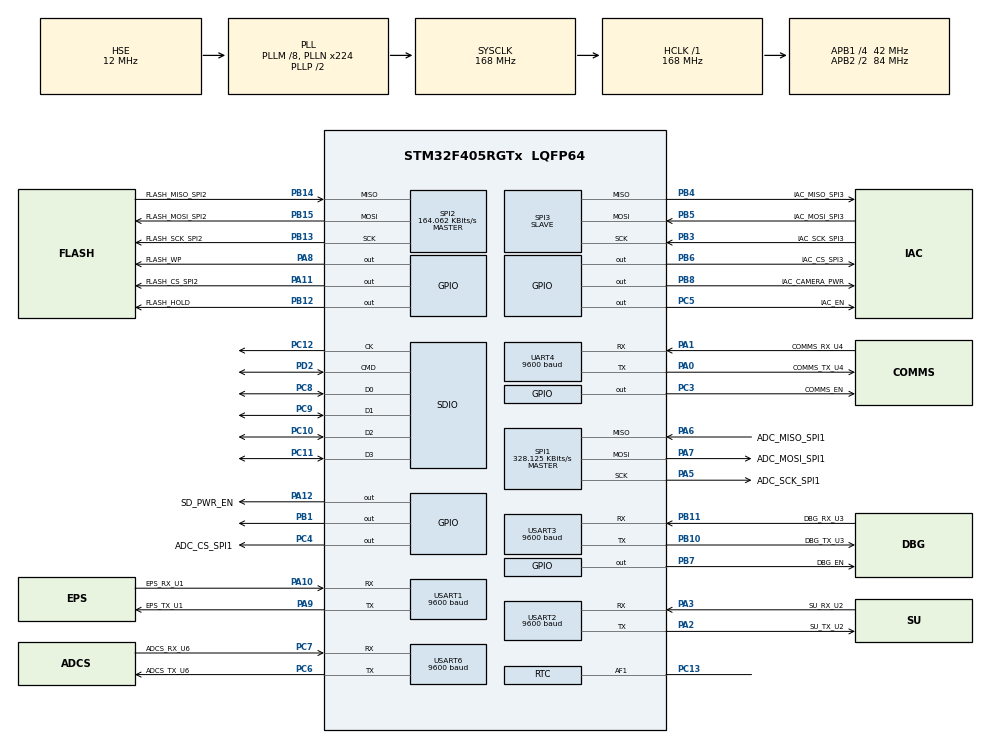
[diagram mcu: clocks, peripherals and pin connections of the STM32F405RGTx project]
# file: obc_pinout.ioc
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ADC1.Channel-21\#ChannelRegularConversion=ADC_CHANNEL_VBAT
ADC1.NbrOfConversionFlag=1
ADC1.Rank-21\#ChannelRegularConversion=1
ADC1.SamplingTime-21\#ChannelRegularConversion=ADC_SAMPLETIME_3CYCLES
ADC1.master=1
Dma.Request0=USART2_TX
Dma.Request1=USART3_TX
Dma.Request2=USART6_TX
Dma.Request3=USART1_TX
Dma.USART1_TX.3.Direction=DMA_MEMORY_TO_PERIPH
Dma.USART1_TX.3.FIFOMode=DMA_FIFOMODE_DISABLE
Dma.USART1_TX.3.Instance=DMA2_Stream7
Dma.USART1_TX.3.MemDataAlignment=DMA_MDATAALIGN_BYTE
Dma.USART1_TX.3.MemInc=DMA_MINC_ENABLE
Dma.USART1_TX.3.Mode=DMA_NORMAL
Dma.USART1_TX.3.PeriphDataAlignment=DMA_PDATAALIGN_BYTE
Dma.USART1_TX.3.PeriphInc=DMA_PINC_DISABLE
Dma.USART1_TX.3.Priority=DMA_PRIORITY_LOW
Dma.USART2_TX.0.Direction=DMA_MEMORY_TO_PERIPH
Dma.USART2_TX.0.FIFOMode=DMA_FIFOMODE_DISABLE
Dma.USART2_TX.0.Instance=DMA1_Stream6
Dma.USART2_TX.0.MemDataAlignment=DMA_MDATAALIGN_BYTE
Dma.USART2_TX.0.MemInc=DMA_MINC_ENABLE
Dma.USART2_TX.0.Mode=DMA_NORMAL
Dma.USART2_TX.0.PeriphDataAlignment=DMA_PDATAALIGN_BYTE
Dma.USART2_TX.0.PeriphInc=DMA_PINC_DISABLE
Dma.USART2_TX.0.Priority=DMA_PRIORITY_LOW
Dma.USART3_TX.1.Direction=DMA_MEMORY_TO_PERIPH
Dma.USART3_TX.1.FIFOMode=DMA_FIFOMODE_DISABLE
Dma.USART3_TX.1.Instance=DMA1_Stream3
Dma.USART3_TX.1.MemDataAlignment=DMA_MDATAALIGN_BYTE
Dma.USART3_TX.1.MemInc=DMA_MINC_ENABLE
Dma.USART3_TX.1.Mode=DMA_NORMAL
Dma.USART3_TX.1.PeriphDataAlignment=DMA_PDATAALIGN_BYTE
Dma.USART3_TX.1.PeriphInc=DMA_PINC_DISABLE
Dma.USART3_TX.1.Priority=DMA_PRIORITY_LOW
Dma.USART6_TX.2.Direction=DMA_MEMORY_TO_PERIPH
Dma.USART6_TX.2.FIFOMode=DMA_FIFOMODE_DISABLE
Dma.USART6_TX.2.Instance=DMA2_Stream6
Dma.USART6_TX.2.MemDataAlignment=DMA_MDATAALIGN_BYTE
Dma.USART6_TX.2.MemInc=DMA_MINC_ENABLE
Dma.USART6_TX.2.Mode=DMA_NORMAL
Dma.USART6_TX.2.PeriphDataAlignment=DMA_PDATAALIGN_BYTE
Dma.USART6_TX.2.PeriphInc=DMA_PINC_DISABLE
Dma.USART6_TX.2.Priority=DMA_PRIORITY_LOW
FREERTOS.HEAP_NUMBER=1
FREERTOS.INCLUDE_uxTaskGetStackHighWaterMark=1
FREERTOS.INCLUDE_vTaskDelayUntil=1
FREERTOS.Queues01=queueCOMMS,25,uint16_t,NULL;queueADCS,25,uint16_t,NULL;queueDBG,25,uint16_t,NULL;queueEPS,25,uint16_t,NULL
FREERTOS.Tasks01=uart,0,1024,UART_task,Default;HK,-2,512,HK_task,Default;time_check,-3,512,IDLE_task,Default;SU_SCH_task,-1,512,SU_SCH,Default;TEST_task,1,512,StartTask05,Default
FREERTOS.configCHECK_FOR_STACK_OVERFLOW=2
FREERTOS.configUSE_IDLE_HOOK=1
IWDG.Prescaler=IWDG_PRESCALER_256
Mcu.Family=STM32F4
Mcu.Name=STM32F405RGTx
Mcu.Package=LQFP64
NVIC.ADC_IRQn=true\:5\:0\:false\:false\:true\:true\:false\:true
NVIC.DMA1_Stream3_IRQn=true\:5\:0\:false\:false\:true\:true\:true\:true
NVIC.DMA1_Stream6_IRQn=true\:5\:0\:false\:false\:true\:true\:true\:true
NVIC.DMA2_Stream6_IRQn=true\:5\:0\:false\:false\:true\:true\:true\:true
NVIC.DMA2_Stream7_IRQn=true\:5\:0\:false\:false\:true\:true\:true\:true
NVIC.PriorityGroup=NVIC_PRIORITYGROUP_4
NVIC.SDIO_IRQn=true\:5\:0\:false\:false\:true\:true\:true\:true
NVIC.SPI3_IRQn=true\:5\:0\:false\:false\:true\:true\:true\:true
NVIC.TIM1_UP_TIM10_IRQn=true\:0\:0\:false\:false\:true\:false\:false\:true
NVIC.TimeBase=TIM1_UP_TIM10_IRQn
NVIC.TimeBaseIP=TIM1
NVIC.UART4_IRQn=true\:5\:0\:false\:false\:true\:true\:true\:true
NVIC.USART1_IRQn=true\:5\:0\:false\:false\:true\:true\:true\:true
NVIC.USART2_IRQn=true\:5\:0\:false\:false\:true\:true\:true\:true
NVIC.USART3_IRQn=true\:5\:0\:false\:false\:true\:true\:true\:true
NVIC.USART6_IRQn=true\:5\:0\:false\:false\:true\:true\:true\:true
PA0-WKUP.GPIO_Label=COMMS_TX_U4
PA0-WKUP.Mode=Asynchronous
PA0-WKUP.Signal=UART4_TX
PA1.GPIO_Label=COMMS_RX_U4
PA1.Mode=Asynchronous
PA1.Signal=UART4_RX
PA10.GPIO_Label=EPS_RX_U1
PA10.Mode=Asynchronous
PA10.Signal=USART1_RX
PA11.GPIO_Label=FLASH_CS_SPI2
PA11.Signal=GPIO_Output
PA12.GPIO_Label=SD_PWR_EN
PA12.Signal=GPIO_Output
PA13.Mode=Serial_Wire
PA13.Signal=SYS_JTMS-SWDIO
PA14.Mode=Serial_Wire
PA14.Signal=SYS_JTCK-SWCLK
PA2.GPIO_Label=SU_TX_U2
PA2.Mode=Asynchronous
PA2.Signal=USART2_TX
PA3.GPIO_Label=SU_RX_U2
PA3.Mode=Asynchronous
PA3.Signal=USART2_RX
PA5.GPIO_Label=ADC_SCK_SPI1
PA5.Mode=Full_Duplex_Master
PA5.Signal=SPI1_SCK
PA6.GPIO_Label=ADC_MISO_SPI1
PA6.Mode=Full_Duplex_Master
PA6.Signal=SPI1_MISO
PA7.GPIO_Label=ADC_MOSI_SPI1
PA7.Mode=Full_Duplex_Master
PA7.Signal=SPI1_MOSI
PA8.GPIO_Label=FLASH_WP
PA8.Signal=GPIO_Output
PA9.GPIO_Label=EPS_TX_U1
PA9.Mode=Asynchronous
PA9.Signal=USART1_TX
PB0.GPIO_Label=IAC_CM_ADC1_8
PB0.Signal=ADCx_IN8
PB1.Signal=GPIO_Output
PB10.GPIO_Label=DBG_TX_U3
PB10.Mode=Asynchronous
PB10.Signal=USART3_TX
PB11.GPIO_Label=DBG_RX_U3
PB11.Mode=Asynchronous
PB11.Signal=USART3_RX
PB12.GPIO_Label=FLASH_HOLD
PB12.Signal=GPIO_Output
PB13.GPIO_Label=FLASH_SCK_SPI2
PB13.Mode=Full_Duplex_Master
PB13.Signal=SPI2_SCK
PB14.GPIO_Label=FLASH_MISO_SPI2
PB14.Mode=Full_Duplex_Master
PB14.Signal=SPI2_MISO
PB15.GPIO_Label=FLASH_MOSI_SPI2
PB15.Mode=Full_Duplex_Master
PB15.Signal=SPI2_MOSI
PB3.GPIO_Label=IAC_SCK_SPI3
PB3.Mode=Full_Duplex_Slave
PB3.Signal=SPI3_SCK
PB4.GPIO_Label=IAC_MISO_SPI3
PB4.Mode=Full_Duplex_Slave
PB4.Signal=SPI3_MISO
PB5.GPIO_Label=IAC_MOSI_SPI3
PB5.Mode=Full_Duplex_Slave
PB5.Signal=SPI3_MOSI
PB6.GPIO_Label=IAC_CS_SPI3
PB6.Signal=GPIO_Output
PB7.GPIO_Label=DBG_EN
PB7.Signal=GPIO_Output
PB8.GPIO_Label=IAC_CAMERA_PWR
PB8.Signal=GPIO_Output
PC10.Mode=SD_4_bits_Wide_bus
PC10.Signal=SDIO_D2
PC11.Mode=SD_4_bits_Wide_bus
PC11.Signal=SDIO_D3
PC12.Mode=SD_4_bits_Wide_bus
PC12.Signal=SDIO_CK
PC13-ANTI_TAMP.Mode=Calibration_1Hz
PC13-ANTI_TAMP.Signal=RTC_AF1
PC14-OSC32_IN.Mode=LSE-External-Oscillator
PC14-OSC32_IN.Signal=RCC_OSC32_IN
PC15-OSC32_OUT.Mode=LSE-External-Oscillator
PC15-OSC32_OUT.Signal=RCC_OSC32_OUT
PC3.GPIO_Label=COMMS_EN
PC3.Signal=GPIO_Output
PC4.GPIO_Label=ADC_CS_SPI1
PC4.Signal=GPIO_Output
PC5.GPIO_Label=IAC_EN
PC5.Signal=GPIO_Output
PC6.GPIO_Label=ADCS_TX_U6
PC6.Mode=Asynchronous
PC6.Signal=USART6_TX
PC7.GPIO_Label=ADCS_RX_U6
PC7.Mode=Asynchronous
PC7.Signal=USART6_RX
PC8.Mode=SD_4_bits_Wide_bus
PC8.Signal=SDIO_D0
PC9.Mode=SD_4_bits_Wide_bus
PC9.Signal=SDIO_D1
PD2.Mode=SD_4_bits_Wide_bus
PD2.Signal=SDIO_CMD
PH0-OSC_IN.Mode=HSE-External-Oscillator
PH0-OSC_IN.Signal=RCC_OSC_IN
PH1-OSC_OUT.Mode=HSE-External-Oscillator
PH1-OSC_OUT.Signal=RCC_OSC_OUT
ProjectManager.HeapSize=0x200
ProjectManager.StackSize=0x400
ProjectManager.TargetToolchain=SW4STM32
RCC.48MHZClocksFreq_Value=48000000
RCC.AHBFreq_Value=168000000
RCC.APB1CLKDivider=RCC_HCLK_DIV4
RCC.APB1Freq_Value=42000000
RCC.APB1TimFreq_Value=84000000
RCC.APB2CLKDivider=RCC_HCLK_DIV2
RCC.APB2Freq_Value=84000000
RCC.APB2TimFreq_Value=168000000
RCC.CortexFreq_Value=168000000
RCC.HCLKFreq_Value=168000000
RCC.HSE_VALUE=12000000
RCC.HSI_VALUE=16000000
RCC.PLLM=8
RCC.PLLN=224
RCC.PLLQ=7
RCC.PLLSourceVirtual=RCC_PLLSOURCE_HSE
RCC.RCC_RTC_Clock_Source=RCC_RTCCLKSOURCE_LSE
RCC.RCC_RTC_Clock_SourceVirtual=RCC_RTCCLKSOURCE_LSE
RCC.SYSCLKFreq_VALUE=168000000
RCC.SYSCLKSource=RCC_SYSCLKSOURCE_PLLCLK
RCC.VCOOutputFreq_Value=336000000
RTC.Format=RTC_FORMAT_BIN
SDIO.WideMode=SDIO_BUS_WIDE_4B
SH.ADCx_IN8.0=ADC1_IN8
SPI1.BaudRatePrescaler=SPI_BAUDRATEPRESCALER_256
SPI1.CalculateBaudRate=328.125 KBits/s
SPI1.Direction=SPI_DIRECTION_2LINES
SPI1.Mode=SPI_MODE_MASTER
SPI1.VirtualType=VM_MASTER
SPI2.BaudRatePrescaler=SPI_BAUDRATEPRESCALER_256
SPI2.CLKPhase=SPI_PHASE_1EDGE
SPI2.CalculateBaudRate=164.062 KBits/s
SPI2.Direction=SPI_DIRECTION_2LINES
SPI2.Mode=SPI_MODE_MASTER
SPI2.VirtualType=VM_MASTER
SPI3.Direction=SPI_DIRECTION_2LINES
SPI3.Mode=SPI_MODE_SLAVE
SPI3.VirtualType=VM_SLAVE
UART4.BaudRate=9600
UART4.VirtualMode=Asynchronous
USART1.BaudRate=9600
USART1.VirtualMode=VM_ASYNC
USART2.BaudRate=9600
USART2.VirtualMode=VM_ASYNC
USART3.BaudRate=9600
USART3.VirtualMode=VM_ASYNC
USART6.BaudRate=9600
USART6.VirtualMode=VM_ASYNC
VP_ADC1_Vbat_Input.Mode=IN-Vbat
VP_FATFS_VS_Generic.Mode=User_defined
VP_FREERTOS_VS_ENABLE.Mode=Enabled
VP_IWDG_VS_IWDG.Mode=IWDG_Activate
VP_RTC_VS_RTC_Activate.Mode=RTC_Enabled
VP_SYS_VS_tim1.Mode=TIM1
board=obc_pinout

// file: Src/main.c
/**
  ******************************************************************************
  * File Name          : main.c
  * Description        : Main program body
  ******************************************************************************
  *
  * COPYRIGHT(c) 2016 STMicroelectronics
  *
  * Redistribution and use in source and binary forms, with or without modification,
  * are permitted provided that the following conditions are met:
  *   1. Redistributions of source code must retain the above copyright notice,
  *      this list of conditions and the following disclaimer.
  *   2. Redistributions in binary form must reproduce the above copyright notice,
  *      this list of conditions and the following disclaimer in the documentation
  *      and/or other materials provided with the distribution.
  *   3. Neither the name of STMicroelectronics nor the names of its contributors
  *      may be used to endorse or promote products derived from this software
  *      without specific prior written permission.
  *
  * THIS SOFTWARE IS PROVIDED BY THE COPYRIGHT HOLDERS AND CONTRIBUTORS "AS IS"
  * AND ANY EXPRESS OR IMPLIED WARRANTIES, INCLUDING, BUT NOT LIMITED TO, THE
  * IMPLIED WARRANTIES OF MERCHANTABILITY AND FITNESS FOR A PARTICULAR PURPOSE ARE
  * DISCLAIMED. IN NO EVENT SHALL THE COPYRIGHT HOLDER OR CONTRIBUTORS BE LIABLE
  * FOR ANY DIRECT, INDIRECT, INCIDENTAL, SPECIAL, EXEMPLARY, OR CONSEQUENTIAL
  * DAMAGES (INCLUDING, BUT NOT LIMITED TO, PROCUREMENT OF SUBSTITUTE GOODS OR
  * SERVICES; LOSS OF USE, DATA, OR PROFITS; OR BUSINESS INTERRUPTION) HOWEVER
  * CAUSED AND ON ANY THEORY OF LIABILITY, WHETHER IN CONTRACT, STRICT LIABILITY,
  * OR TORT (INCLUDING NEGLIGENCE OR OTHERWISE) ARISING IN ANY WAY OUT OF THE USE
  * OF THIS SOFTWARE, EVEN IF ADVISED OF THE POSSIBILITY OF SUCH DAMAGE.
  *
  ******************************************************************************
  */
#include "stm32f4xx_hal.h"
#include "cmsis_os.h"
#include "main.h"
//#include "fatfs.h"

/* USER CODE BEGIN Includes */
#include "obc.h"
/*
#include "obc.h"
#include "service_utilities.h"
#include "time_management_service.h"
#include "wdg.h"
#include "su_mnlp.h"
#include "scheduling_service.h"
*/
#include "pkt_pool.h"

#undef __FILE_ID__
#define __FILE_ID__ 666

/* USER CODE END Includes */

ADC_HandleTypeDef hadc1;

IWDG_HandleTypeDef hiwdg;

RTC_HandleTypeDef hrtc;

SD_HandleTypeDef hsd;
// HAL_SD_CardInfoTypedef SDCardInfo;

SPI_HandleTypeDef hspi1;
SPI_HandleTypeDef hspi2;
SPI_HandleTypeDef hspi3;

UART_HandleTypeDef huart4;
UART_HandleTypeDef huart1;
UART_HandleTypeDef huart2;
UART_HandleTypeDef huart3;
UART_HandleTypeDef huart6;
DMA_HandleTypeDef hdma_uart4_tx;
DMA_HandleTypeDef hdma_usart1_tx;
DMA_HandleTypeDef hdma_usart2_tx;
DMA_HandleTypeDef hdma_usart3_tx;
DMA_HandleTypeDef hdma_usart6_tx;

osThreadId uartHandle;
osThreadId hkHandle;
osThreadId idleHandle;
osThreadId su_schHandle;
osThreadId sche_servHandle;
osMessageQId queueCOMMS;
osMessageQId queueADCS;
osMessageQId queueDBG;
osMessageQId queueEPS;

/* USER CODE BEGIN PV */
/* Private variables ---------------------------------------------------------*/
uint8_t uart_temp[200];
extern uint8_t su_inc_resp[180]; //174 su resp + 22 flight hdr, +1 for serial shift = 197
extern struct _MNLP_data MNLP_data;

TaskHandle_t xTask_UART = NULL;
/* USER CODE END PV */

void SystemClock_Config(void);
void Error_Handler(void);
static void MX_GPIO_Init(void);
static void MX_DMA_Init(void);
static void MX_SDIO_SD_Init(void);
static void MX_UART4_Init(void);
static void MX_USART2_UART_Init(void);
static void MX_USART3_UART_Init(void);
static void MX_USART6_UART_Init(void);
static void MX_USART1_UART_Init(void);
static void MX_SPI2_Init(void);
static void MX_SPI1_Init(void);
static void MX_SPI3_Init(void);
static void MX_ADC1_Init(void);
static void MX_RTC_Init(void);
static void MX_IWDG_Init(void);
void UART_task(void const * argument);
void HK_task(void const * argument);
void IDLE_task(void const * argument);
void SU_SCH(void const * argument);
void sche_se_sch(void const * argument);

/* USER CODE BEGIN PFP */
/* Private function prototypes -----------------------------------------------*/

/* USER CODE END PFP */

/* USER CODE BEGIN 0 */
const TickType_t xUARTMaxBlockTime = pdMS_TO_TICKS(10000);
const TickType_t xUARTMinBlockTime = pdMS_TO_TICKS(100);
/* USER CODE END 0 */

int main(void)
{

  /* MCU Configuration----------------------------------------------------------*/

  /* Reset of all peripherals, Initializes the Flash interface and the Systick. */
  HAL_Init();
  HAL_Delay(5000);
  /* Configure the system clock */
  SystemClock_Config();

  /* Initialize all configured peripherals */
  MX_GPIO_Init();
  MX_DMA_Init();
  MX_SDIO_SD_Init();
  MX_UART4_Init();
  MX_USART2_UART_Init();
  MX_USART3_UART_Init();
  MX_USART6_UART_Init();
  MX_USART1_UART_Init();
  MX_SPI2_Init();
  MX_SPI1_Init();
  MX_SPI3_Init();
  MX_ADC1_Init();
  MX_RTC_Init();
  MX_IWDG_Init();

  /* USER CODE BEGIN 2 */
  /*SEGGER_SYSVIEW_Conf();
  sysview_init();*/
  /* USER CODE END 2 */

  /* Create the thread(s) */
  /* definition and creation of uart */
  osThreadDef(uart, UART_task, osPriorityAboveNormal, 0, 1024);
  uartHandle = osThreadCreate(osThread(uart), NULL);

  /* definition and creation of HK */
  osThreadDef(HK, HK_task, osPriorityLow, 0, 512);
  hkHandle = osThreadCreate(osThread(HK), NULL);

  /* definition and creation of time_check */
  osThreadDef(time_check, IDLE_task, osPriorityIdle, 0, 512);
  idleHandle = osThreadCreate(osThread(time_check), NULL);

  /* definition and creation of SU_SCH_task */
  osThreadDef(SU_SCH_task, SU_SCH, osPriorityNormal, 0, 512);
  su_schHandle = osThreadCreate(osThread(SU_SCH_task), NULL);

  /* definition and creation of scheduling_serv */
  osThreadDef(scheduling_serv, sche_se_sch, osPriorityBelowNormal, 0, 128);
  sche_servHandle = osThreadCreate(osThread(scheduling_serv), NULL);

  /* Create the queue(s) */
  /* definition and creation of queueCOMMS */
  osMessageQDef(queueCOMMSdef, POOL_PKT_TOTAL_SIZE + 1, sizeof(tc_tm_pkt *));
  queueCOMMS = osMessageCreate(osMessageQ(queueCOMMSdef), NULL);

  /* definition and creation of queueADCS */
  osMessageQDef(queueADCSdef, POOL_PKT_TOTAL_SIZE + 1, sizeof(tc_tm_pkt *));
  queueADCS = osMessageCreate(osMessageQ(queueADCSdef), NULL);

  /* definition and creation of queueDBG */
  osMessageQDef(queueDBGdef, POOL_PKT_TOTAL_SIZE + 1, sizeof(tc_tm_pkt *));
  queueDBG = osMessageCreate(osMessageQ(queueDBGdef), NULL);

  /* definition and creation of queueEPS */
  osMessageQDef(queueEPSdef, POOL_PKT_TOTAL_SIZE + 1, sizeof(tc_tm_pkt *));
  queueEPS = osMessageCreate(osMessageQ(queueEPSdef), NULL);

  /* USER CODE BEGIN RTOS_QUEUES */
  uint32_t test = uxQueueMessagesWaiting( queueEPS );
  test = uxQueueMessagesWaiting( queueDBG );
  test = uxQueueMessagesWaiting( queueADCS );
  test = uxQueueMessagesWaiting( queueCOMMS );
  /* USER CODE END RTOS_QUEUES */

  /* Start scheduler */
  osKernelStart();

  /* We should never get here as control is now taken by the scheduler */

  /* Infinite loop */
  while (1)
  {

  }

}

/** System Clock Configuration
*/
void SystemClock_Config(void)
{

  RCC_OscInitTypeDef RCC_OscInitStruct;
  RCC_ClkInitTypeDef RCC_ClkInitStruct;
  RCC_PeriphCLKInitTypeDef PeriphClkInitStruct;

  __HAL_RCC_PWR_CLK_ENABLE();

  __HAL_PWR_VOLTAGESCALING_CONFIG(PWR_REGULATOR_VOLTAGE_SCALE1);

  RCC_OscInitStruct.OscillatorType = RCC_OSCILLATORTYPE_LSI|RCC_OSCILLATORTYPE_HSE
                              |RCC_OSCILLATORTYPE_LSE;
  RCC_OscInitStruct.HSEState = RCC_HSE_ON;
  RCC_OscInitStruct.LSEState = RCC_LSE_ON;
  RCC_OscInitStruct.LSIState = RCC_LSI_ON;
  RCC_OscInitStruct.PLL.PLLState = RCC_PLL_ON;
  RCC_OscInitStruct.PLL.PLLSource = RCC_PLLSOURCE_HSE;
  RCC_OscInitStruct.PLL.PLLM = 8;
  RCC_OscInitStruct.PLL.PLLN = 224;
  RCC_OscInitStruct.PLL.PLLP = RCC_PLLP_DIV2;
  RCC_OscInitStruct.PLL.PLLQ = 7;
  if (HAL_RCC_OscConfig(&RCC_OscInitStruct) != HAL_OK)
  {
    Error_Handler();
  }

  RCC_ClkInitStruct.ClockType = RCC_CLOCKTYPE_HCLK|RCC_CLOCKTYPE_SYSCLK
                              |RCC_CLOCKTYPE_PCLK1|RCC_CLOCKTYPE_PCLK2;
  RCC_ClkInitStruct.SYSCLKSource = RCC_SYSCLKSOURCE_PLLCLK;
  RCC_ClkInitStruct.AHBCLKDivider = RCC_SYSCLK_DIV1;
  RCC_ClkInitStruct.APB1CLKDivider = RCC_HCLK_DIV4;
  RCC_ClkInitStruct.APB2CLKDivider = RCC_HCLK_DIV2;
  if (HAL_RCC_ClockConfig(&RCC_ClkInitStruct, FLASH_LATENCY_5) != HAL_OK)
  {
    Error_Handler();
  }

  PeriphClkInitStruct.PeriphClockSelection = RCC_PERIPHCLK_RTC;
  PeriphClkInitStruct.RTCClockSelection = RCC_RTCCLKSOURCE_LSE;
  if (HAL_RCCEx_PeriphCLKConfig(&PeriphClkInitStruct) != HAL_OK)
  {
    Error_Handler();
  }

  HAL_SYSTICK_Config(HAL_RCC_GetHCLKFreq()/1000);

  HAL_SYSTICK_CLKSourceConfig(SYSTICK_CLKSOURCE_HCLK);

  /* SysTick_IRQn interrupt configuration */
  HAL_NVIC_SetPriority(SysTick_IRQn, 15, 0);
}

/* ADC1 init function */
static void MX_ADC1_Init(void)
{

  ADC_ChannelConfTypeDef sConfig;

    /**Configure the global features of the ADC (Clock, Resolution, Data Alignment and number of conversion)
    */
  hadc1.Instance = ADC1;
  hadc1.Init.ClockPrescaler = ADC_CLOCK_SYNC_PCLK_DIV4;
  hadc1.Init.Resolution = ADC_RESOLUTION_12B;
  hadc1.Init.ScanConvMode = DISABLE;
  hadc1.Init.ContinuousConvMode = DISABLE;
  hadc1.Init.DiscontinuousConvMode = DISABLE;
  hadc1.Init.ExternalTrigConvEdge = ADC_EXTERNALTRIGCONVEDGE_NONE;
  hadc1.Init.DataAlign = ADC_DATAALIGN_RIGHT;
  hadc1.Init.NbrOfConversion = 1;
  hadc1.Init.DMAContinuousRequests = DISABLE;
  hadc1.Init.EOCSelection = ADC_EOC_SINGLE_CONV;
  if (HAL_ADC_Init(&hadc1) != HAL_OK)
  {
    Error_Handler();
  }

    /**Configure for the selected ADC regular channel its corresponding rank in the sequencer and its sample time.
    */
  sConfig.Channel = ADC_CHANNEL_VBAT;
  sConfig.Rank = 1;
  sConfig.SamplingTime = ADC_SAMPLETIME_3CYCLES;
  if (HAL_ADC_ConfigChannel(&hadc1, &sConfig) != HAL_OK)
  {
    Error_Handler();
  }

}

/* IWDG init function */
static void MX_IWDG_Init(void)
{

  hiwdg.Instance = IWDG;
  hiwdg.Init.Prescaler = IWDG_PRESCALER_256;
  hiwdg.Init.Reload = 4095;
  if (HAL_IWDG_Init(&hiwdg) != HAL_OK)
  {
    Error_Handler();
  }

}

/* RTC init function */
static void MX_RTC_Init(void)
{

  RTC_TimeTypeDef sTime;
  RTC_DateTypeDef sDate;

    /**Initialize RTC and set the Time and Date
    */
  hrtc.Instance = RTC;
  hrtc.Init.HourFormat = RTC_HOURFORMAT_24;
  hrtc.Init.AsynchPrediv = 127;
  hrtc.Init.SynchPrediv = 255;
  hrtc.Init.OutPut = RTC_OUTPUT_DISABLE;
  hrtc.Init.OutPutPolarity = RTC_OUTPUT_POLARITY_HIGH;
  hrtc.Init.OutPutType = RTC_OUTPUT_TYPE_OPENDRAIN;
  if (HAL_RTC_Init(&hrtc) != HAL_OK)
  {
    Error_Handler();
  }

  sTime.Hours = 0;
  sTime.Minutes = 0;
  sTime.Seconds = 0;
  sTime.DayLightSaving = RTC_DAYLIGHTSAVING_NONE;
  sTime.StoreOperation = RTC_STOREOPERATION_RESET;
  //if (HAL_RTC_SetTime(&hrtc, &sTime, RTC_FORMAT_BIN) != HAL_OK)
  //{
  //  Error_Handler();
  //}

  sDate.WeekDay = RTC_WEEKDAY_MONDAY;
  sDate.Month = RTC_MONTH_JANUARY;
  sDate.Date = 1;
  sDate.Year = 0;

  //if (HAL_RTC_SetDate(&hrtc, &sDate, RTC_FORMAT_BIN) != HAL_OK)
  //{
  //  Error_Handler();
  //}

    /**Enable Calibrartion
    */
  //if (HAL_RTCEx_SetCalibrationOutPut(&hrtc, RTC_CALIBOUTPUT_1HZ) != HAL_OK)
  //{
  //  Error_Handler();
  //}

}

/* SDIO init function */
static void MX_SDIO_SD_Init(void)
{

  hsd.Instance = SDIO;
  hsd.Init.ClockEdge = SDIO_CLOCK_EDGE_RISING;
  hsd.Init.ClockBypass = SDIO_CLOCK_BYPASS_DISABLE;
  hsd.Init.ClockPowerSave = SDIO_CLOCK_POWER_SAVE_DISABLE;
  hsd.Init.BusWide = SDIO_BUS_WIDE_1B;
  hsd.Init.HardwareFlowControl = SDIO_HARDWARE_FLOW_CONTROL_DISABLE;
  hsd.Init.ClockDiv = 0;

}

/* SPI1 init function */
static void MX_SPI1_Init(void)
{

  hspi1.Instance = SPI1;
  hspi1.Init.Mode = SPI_MODE_MASTER;
  hspi1.Init.Direction = SPI_DIRECTION_2LINES;
  hspi1.Init.DataSize = SPI_DATASIZE_8BIT;
  hspi1.Init.CLKPolarity = SPI_POLARITY_LOW;
  hspi1.Init.CLKPhase = SPI_PHASE_1EDGE;
  hspi1.Init.NSS = SPI_NSS_SOFT;
  hspi1.Init.BaudRatePrescaler = SPI_BAUDRATEPRESCALER_256;
  hspi1.Init.FirstBit = SPI_FIRSTBIT_MSB;
  hspi1.Init.TIMode = SPI_TIMODE_DISABLE;
  hspi1.Init.CRCCalculation = SPI_CRCCALCULATION_DISABLE;
  hspi1.Init.CRCPolynomial = 10;
  if (HAL_SPI_Init(&hspi1) != HAL_OK)
  {
    Error_Handler();
  }

}

/* SPI2 init function */
static void MX_SPI2_Init(void)
{

  hspi2.Instance = SPI2;
  hspi2.Init.Mode = SPI_MODE_MASTER;
  hspi2.Init.Direction = SPI_DIRECTION_2LINES;
  hspi2.Init.DataSize = SPI_DATASIZE_8BIT;
  hspi2.Init.CLKPolarity = SPI_POLARITY_LOW;
  hspi2.Init.CLKPhase = SPI_PHASE_1EDGE;
  hspi2.Init.NSS = SPI_NSS_SOFT;
  hspi2.Init.BaudRatePrescaler = SPI_BAUDRATEPRESCALER_256;
  hspi2.Init.FirstBit = SPI_FIRSTBIT_MSB;
  hspi2.Init.TIMode = SPI_TIMODE_DISABLE;
  hspi2.Init.CRCCalculation = SPI_CRCCALCULATION_DISABLE;
  hspi2.Init.CRCPolynomial = 10;
  if (HAL_SPI_Init(&hspi2) != HAL_OK)
  {
    Error_Handler();
  }

}

/* SPI3 init function */
static void MX_SPI3_Init(void)
{

  hspi3.Instance = SPI3;
  hspi3.Init.Mode = SPI_MODE_SLAVE;
  hspi3.Init.Direction = SPI_DIRECTION_2LINES;
  hspi3.Init.DataSize = SPI_DATASIZE_8BIT;
  hspi3.Init.CLKPolarity = SPI_POLARITY_LOW;
  hspi3.Init.CLKPhase = SPI_PHASE_1EDGE;
  hspi3.Init.NSS = SPI_NSS_SOFT;
  hspi3.Init.FirstBit = SPI_FIRSTBIT_MSB;
  hspi3.Init.TIMode = SPI_TIMODE_DISABLE;
  hspi3.Init.CRCCalculation = SPI_CRCCALCULATION_DISABLE;
  hspi3.Init.CRCPolynomial = 10;
  if (HAL_SPI_Init(&hspi3) != HAL_OK)
  {
    Error_Handler();
  }

}

/* UART4 init function */
static void MX_UART4_Init(void)
{

  huart4.Instance = UART4;
  huart4.Init.BaudRate = 9600;
  huart4.Init.WordLength = UART_WORDLENGTH_8B;
  huart4.Init.StopBits = UART_STOPBITS_1;
  huart4.Init.Parity = UART_PARITY_NONE;
  huart4.Init.Mode = UART_MODE_TX_RX;
  huart4.Init.HwFlowCtl = UART_HWCONTROL_NONE;
  huart4.Init.OverSampling = UART_OVERSAMPLING_16;
  if (HAL_UART_Init(&huart4) != HAL_OK)
  {
    Error_Handler();
  }

}

/* USART1 init function */
static void MX_USART1_UART_Init(void)
{

  huart1.Instance = USART1;
  huart1.Init.BaudRate = 9600;
  huart1.Init.WordLength = UART_WORDLENGTH_8B;
  huart1.Init.StopBits = UART_STOPBITS_1;
  huart1.Init.Parity = UART_PARITY_NONE;
  huart1.Init.Mode = UART_MODE_TX_RX;
  huart1.Init.HwFlowCtl = UART_HWCONTROL_NONE;
  huart1.Init.OverSampling = UART_OVERSAMPLING_16;
  if (HAL_UART_Init(&huart1) != HAL_OK)
  {
    Error_Handler();
  }

}

/* USART2 init function */
static void MX_USART2_UART_Init(void)
{

  huart2.Instance = USART2;
  huart2.Init.BaudRate = 9600;
  huart2.Init.WordLength = UART_WORDLENGTH_8B;
  huart2.Init.StopBits = UART_STOPBITS_1;
  huart2.Init.Parity = UART_PARITY_NONE;
  huart2.Init.Mode = UART_MODE_TX_RX;
  huart2.Init.HwFlowCtl = UART_HWCONTROL_NONE;
  huart2.Init.OverSampling = UART_OVERSAMPLING_16;
  if (HAL_UART_Init(&huart2) != HAL_OK)
  {
    Error_Handler();
  }

}

/* USART3 init function */
static void MX_USART3_UART_Init(void)
{

  huart3.Instance = USART3;
  huart3.Init.BaudRate = 9600;
  huart3.Init.WordLength = UART_WORDLENGTH_8B;
  huart3.Init.StopBits = UART_STOPBITS_1;
  huart3.Init.Parity = UART_PARITY_NONE;
  huart3.Init.Mode = UART_MODE_TX_RX;
  huart3.Init.HwFlowCtl = UART_HWCONTROL_NONE;
  huart3.Init.OverSampling = UART_OVERSAMPLING_16;
  if (HAL_UART_Init(&huart3) != HAL_OK)
  {
    Error_Handler();
  }

}

/* USART6 init function */
static void MX_USART6_UART_Init(void)
{

  huart6.Instance = USART6;
  huart6.Init.BaudRate = 9600;
  huart6.Init.WordLength = UART_WORDLENGTH_8B;
  huart6.Init.StopBits = UART_STOPBITS_1;
  huart6.Init.Parity = UART_PARITY_NONE;
  huart6.Init.Mode = UART_MODE_TX_RX;
  huart6.Init.HwFlowCtl = UART_HWCONTROL_NONE;
  huart6.Init.OverSampling = UART_OVERSAMPLING_16;
  if (HAL_UART_Init(&huart6) != HAL_OK)
  {
    Error_Handler();
  }

}

static void MX_DMA_Init(void)
{
  /* DMA controller clock enable */
  __HAL_RCC_DMA1_CLK_ENABLE();
  __HAL_RCC_DMA2_CLK_ENABLE();

  /* DMA interrupt init */
  /* DMA1_Stream3_IRQn interrupt configuration */
  HAL_NVIC_SetPriority(DMA1_Stream3_IRQn, 5, 0);
  HAL_NVIC_EnableIRQ(DMA1_Stream3_IRQn);
  /* DMA1_Stream4_IRQn interrupt configuration */
  HAL_NVIC_SetPriority(DMA1_Stream4_IRQn, 5, 0);
  HAL_NVIC_EnableIRQ(DMA1_Stream4_IRQn);
  /* DMA1_Stream6_IRQn interrupt configuration */
  HAL_NVIC_SetPriority(DMA1_Stream6_IRQn, 5, 0);
  HAL_NVIC_EnableIRQ(DMA1_Stream6_IRQn);
  /* DMA2_Stream6_IRQn interrupt configuration */
  HAL_NVIC_SetPriority(DMA2_Stream6_IRQn, 5, 0);
  HAL_NVIC_EnableIRQ(DMA2_Stream6_IRQn);
  /* DMA2_Stream7_IRQn interrupt configuration */
  HAL_NVIC_SetPriority(DMA2_Stream7_IRQn, 5, 0);
  HAL_NVIC_EnableIRQ(DMA2_Stream7_IRQn);

}

/** Configure pins as
        * Analog
        * Input
        * Output
        * EVENT_OUT
        * EXTI
*/
static void MX_GPIO_Init(void)
{

  GPIO_InitTypeDef GPIO_InitStruct;

  /* GPIO Ports Clock Enable */
  __HAL_RCC_GPIOC_CLK_ENABLE();
  __HAL_RCC_GPIOH_CLK_ENABLE();
  __HAL_RCC_GPIOA_CLK_ENABLE();
  __HAL_RCC_GPIOB_CLK_ENABLE();
  __HAL_RCC_GPIOD_CLK_ENABLE();

  /*Configure GPIO pin Output Level */
  HAL_GPIO_WritePin(GPIOC, COMMS_EN_Pin|ADC_CS_SPI1_Pin, GPIO_PIN_RESET);

  HAL_GPIO_WritePin(GPIOC, IAC_EN_Pin, GPIO_PIN_SET);

  /*Configure GPIO pin Output Level */
  HAL_GPIO_WritePin(GPIOB, GPIO_PIN_1|IAC_CS_SPI3_Pin|FLASH_HOLD_Pin|DBG_EN_Pin, GPIO_PIN_RESET);

  HAL_GPIO_WritePin(GPIOB, IAC_CAMERA_PWR_Pin, GPIO_PIN_SET);

  /*Configure GPIO pin Output Level */
  HAL_GPIO_WritePin(GPIOA, FLASH_WP_Pin|FLASH_CS_SPI2_Pin|SD_PWR_EN_Pin, GPIO_PIN_RESET);

  /*Configure GPIO pins : COMMS_EN_Pin ADC_CS_SPI1_Pin IAC_EN_Pin */
  GPIO_InitStruct.Pin = COMMS_EN_Pin|ADC_CS_SPI1_Pin|IAC_EN_Pin;
  GPIO_InitStruct.Mode = GPIO_MODE_OUTPUT_PP;
  GPIO_InitStruct.Pull = GPIO_NOPULL;
  GPIO_InitStruct.Speed = GPIO_SPEED_FREQ_LOW;
  HAL_GPIO_Init(GPIOC, &GPIO_InitStruct);

  /*Configure GPIO pins : PB1 FLASH_HOLD_Pin IAC_CS_SPI3_Pin DBG_EN_Pin
                           IAC_CAMERA_PWR_Pin */
  GPIO_InitStruct.Pin = GPIO_PIN_1|FLASH_HOLD_Pin|IAC_CS_SPI3_Pin|DBG_EN_Pin
                          |IAC_CAMERA_PWR_Pin;
  GPIO_InitStruct.Mode = GPIO_MODE_OUTPUT_PP;
  GPIO_InitStruct.Pull = GPIO_NOPULL;
  GPIO_InitStruct.Speed = GPIO_SPEED_FREQ_LOW;
  HAL_GPIO_Init(GPIOB, &GPIO_InitStruct);

  /*Configure GPIO pins : FLASH_WP_Pin FLASH_CS_SPI2_Pin SD_PWR_EN_Pin */
  GPIO_InitStruct.Pin = FLASH_WP_Pin|FLASH_CS_SPI2_Pin|SD_PWR_EN_Pin;
  GPIO_InitStruct.Mode = GPIO_MODE_OUTPUT_PP;
  GPIO_InitStruct.Pull = GPIO_NOPULL;
  GPIO_InitStruct.Speed = GPIO_SPEED_FREQ_LOW;
  HAL_GPIO_Init(GPIOA, &GPIO_InitStruct);

}

/* USER CODE BEGIN 4 */
void HAL_ADC_ConvCpltCallback(ADC_HandleTypeDef* hadc) {
    obc_data.adc_flag = true;
}
/* USER CODE END 4 */

/* UART_task function
void UART_task(void const * argument)
{
   init code for FATFS
  MX_FATFS_Init();

   USER CODE BEGIN 5

   IS25LP128  eeprom
   HAL_GPIO_WritePin(GPIOA, GPIO_PIN_11, GPIO_PIN_SET);
   HAL_GPIO_WritePin(GPIOB, GPIO_PIN_12, GPIO_PIN_SET);

   pkt_pool_INIT();
   HAL_obc_enableBkUpAccess();
   bkup_sram_INIT();

   uint8_t rsrc = 0;
   HAL_reset_source(&rsrc);
   set_reset_source(rsrc);

   uint32_t b_cnt = 0;
   get_boot_counter(&b_cnt);

   update_boot_counter();

   HAL_obc_SD_ON();

   mass_storage_init();

  Task notification setup
  uint32_t ulNotificationValue;
  const TickType_t xMaxBlockTime = pdMS_TO_TICKS(10000);

  xTask_UART = xTaskGetCurrentTaskHandle();
  TickType_t blockTime;

  su_INIT();

  scheduling_service_init();

  HAL_GPIO_WritePin(GPIOB, GPIO_PIN_6, GPIO_PIN_SET);
  osDelay(1);
  HAL_GPIO_WritePin(GPIOB, GPIO_PIN_6, GPIO_PIN_RESET);
  Uart inits
  // DEBUG
  HAL_UART_Receive_IT( &huart1, obc_data.eps_uart.uart_buf, UART_BUF_SIZE);
  HAL_UART_Receive_IT( &huart2, MNLP_data.su_inc_resp, 174);
  HAL_UART_Receive_IT( &huart3, obc_data.dbg_uart.uart_buf, UART_BUF_SIZE);
  HAL_UART_Receive_IT( &huart4, obc_data.comms_uart.uart_buf, UART_BUF_SIZE);
  HAL_UART_Receive_IT( &huart6, obc_data.adcs_uart.uart_buf, UART_BUF_SIZE);

   Infinite loop
  for(;;)
  {
    task_times.uart_time = HAL_sys_GetTick();
    su_incoming_rx();
    import_pkt(EPS_APP_ID, &obc_data.eps_uart);
    export_pkt(EPS_APP_ID, &obc_data.eps_uart);

    import_pkt(COMMS_APP_ID, &obc_data.comms_uart);
    export_pkt(COMMS_APP_ID, &obc_data.comms_uart);

    import_pkt(ADCS_APP_ID, &obc_data.adcs_uart);
    export_pkt(ADCS_APP_ID, &obc_data.adcs_uart);

    import_pkt(DBG_APP_ID, &obc_data.dbg_uart);
    export_pkt(DBG_APP_ID, &obc_data.dbg_uart);

    wdg_reset_UART();
    if(uxQueueMessagesWaiting(queueADCS)  > 0  ||
       uxQueueMessagesWaiting(queueDBG)   > 0  ||
       uxQueueMessagesWaiting(queueCOMMS) > 0  ||
       uxQueueMessagesWaiting(queueEPS)   > 0) {

      blockTime = xUARTMinBlockTime;
    } else {
      blockTime = xUARTMaxBlockTime;
    }

    ulNotificationValue = ulTaskNotifyTake( pdTRUE, blockTime);

  }
   USER CODE END 5
}*/

/* HK_task function
void HK_task(void const * argument)
{
   USER CODE BEGIN HK_task
  hk_INIT();
   Infinite loop
  osDelay(6000);
  for(;;)
  {
    task_times.hk_time = HAL_sys_GetTick();
    hk_SCH();
    osDelay(10);
  }
   USER CODE END HK_task
}*/

/* IDLE_task function */
void IDLE_task(void const * argument)
{
  /* USER CODE BEGIN IDLE_task */

    /*Task notification setup*/
  osDelay(5000);
  /* Infinite loop */
  for(;;)
  {

    wdg_IDLE();

    uint32_t time = HAL_sys_GetTick();
    task_times.idle_time = time;

    // DEBUG
    // pkt_pool_IDLE(time);
    queue_IDLE(EPS_APP_ID);
    queue_IDLE(DBG_APP_ID);
    queue_IDLE(COMMS_APP_ID);
    queue_IDLE(ADCS_APP_ID);

    if(time - obc_data.adc_time > 30000) {
      HAL_ADC_Start_IT(&hadc1);
      obc_data.adc_time = time;
    }

    if(obc_data.adc_flag == true) {
      obc_data.vbat = (uint16_t) HAL_ADC_GetValue(&hadc1);
      HAL_ADC_Stop_IT(&hadc1);
      obc_data.adc_flag = false;
    }

    osDelay(1000);

  }
  /* USER CODE END IDLE_task */
}

/* SU_SCH function
void SU_SCH(void const * argument)
{
   USER CODE BEGIN su_sch_task
  uint32_t sleep_val_secs;
  su_mnlp_returnState su_sche_state = su_sche_last;
  osDelay(5000); delay to hold freeRTOS scheduler executing us before mass_storage init, su_init etc...

  for (;;){  Infinite loop
    if( *MNLP_data.su_service_scheduler_active){

        sleep_val_secs = 0;
        su_sche_state = su_script_selector(&sleep_val_secs);

        if( su_sche_state == su_no_scr_eligible){
            ulTaskNotifyTake(pdTRUE, pdMS_TO_TICKS((sleep_val_secs)*1000)); sleeps for <50 secs
            continue;
        }
        else
        if( su_sche_state == su_new_scr_selected){ script marked active 1 to 60 seconds earlier, sleep this time
            ulTaskNotifyTake(pdTRUE, pdMS_TO_TICKS((sleep_val_secs)*1000));
            continue;
        }
        else
        if( su_sche_state == su_no_new_scr_selected){ so there is an already active script, old or new, go for it
            if( (*MNLP_data.su_nmlp_script_scheduler_active) == (uint8_t) true){
                sleep_val_secs = 0;
                su_sche_state = su_SCH(&sleep_val_secs);
                if( su_sche_state == su_sche_script_ended){
                    all time tables inside su_SCH has been served. Select a new script or go for the next science collection day
                   ulTaskNotifyTake(pdTRUE, pdMS_TO_TICKS((sleep_val_secs)*1000));
                   continue;
                   TODO: also to be notified on script upload?
                }
            }
        }
      }
    osDelay(2000);
  }
   USER CODE END su_sch_task
}*/

/* sche_se_sch function */
/*
void sche_se_sch(void const * argument)
{
   USER CODE BEGIN sche_se_sch
   Infinite loop
    osDelay(5000);

  for(;;)
  {
    task_times.sch_time = HAL_sys_GetTick();
    cross_schedules();
    osDelay(1000);
  }
   USER CODE END StartTask05
}
*/

void HAL_TIM_PeriodElapsedCallback(TIM_HandleTypeDef *htim)
{
  if (htim->Instance == TIM1) {
    HAL_IncTick();
  }
}

void Error_Handler(void)
{
  while(1)
  {
  }
}

/************************ (C) COPYRIGHT STMicroelectronics *****END OF FILE****/

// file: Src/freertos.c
/* USER CODE BEGIN Header */
/**
  ******************************************************************************
  * File Name          : freertos.c
  * Description        : Code for freertos applications
  ******************************************************************************
  * This notice applies to any and all portions of this file
  * that are not between comment pairs USER CODE BEGIN and
  * USER CODE END. Other portions of this file, whether
  * inserted by the user or by software development tools
  * are owned by their respective copyright owners.
  *
  * Copyright (c) 2019 STMicroelectronics International N.V.
  * All rights reserved.
  *
  * Redistribution and use in source and binary forms, with or without
  * modification, are permitted, provided that the following conditions are met:
  *
  * 1. Redistribution of source code must retain the above copyright notice,
  *    this list of conditions and the following disclaimer.
  * 2. Redistributions in binary form must reproduce the above copyright notice,
  *    this list of conditions and the following disclaimer in the documentation
  *    and/or other materials provided with the distribution.
  * 3. Neither the name of STMicroelectronics nor the names of other
  *    contributors to this software may be used to endorse or promote products
  *    derived from this software without specific written permission.
  * 4. This software, including modifications and/or derivative works of this
  *    software, must execute solely and exclusively on microcontroller or
  *    microprocessor devices manufactured by or for STMicroelectronics.
  * 5. Redistribution and use of this software other than as permitted under
  *    this license is void and will automatically terminate your rights under
  *    this license.
  *
  * THIS SOFTWARE IS PROVIDED BY STMICROELECTRONICS AND CONTRIBUTORS "AS IS"
  * AND ANY EXPRESS, IMPLIED OR STATUTORY WARRANTIES, INCLUDING, BUT NOT
  * LIMITED TO, THE IMPLIED WARRANTIES OF MERCHANTABILITY, FITNESS FOR A
  * PARTICULAR PURPOSE AND NON-INFRINGEMENT OF THIRD PARTY INTELLECTUAL PROPERTY
  * RIGHTS ARE DISCLAIMED TO THE FULLEST EXTENT PERMITTED BY LAW. IN NO EVENT
  * SHALL STMICROELECTRONICS OR CONTRIBUTORS BE LIABLE FOR ANY DIRECT, INDIRECT,
  * INCIDENTAL, SPECIAL, EXEMPLARY, OR CONSEQUENTIAL DAMAGES (INCLUDING, BUT NOT
  * LIMITED TO, PROCUREMENT OF SUBSTITUTE GOODS OR SERVICES; LOSS OF USE, DATA,
  * OR PROFITS; OR BUSINESS INTERRUPTION) HOWEVER CAUSED AND ON ANY THEORY OF
  * LIABILITY, WHETHER IN CONTRACT, STRICT LIABILITY, OR TORT (INCLUDING
  * NEGLIGENCE OR OTHERWISE) ARISING IN ANY WAY OUT OF THE USE OF THIS SOFTWARE,
  * EVEN IF ADVISED OF THE POSSIBILITY OF SUCH DAMAGE.
  *
  ******************************************************************************
  */
/* USER CODE END Header */

#include "FreeRTOS.h"
#include "task.h"
#include "main.h"

/* Hook prototypes */
void vApplicationIdleHook(void);
void vApplicationStackOverflowHook(xTaskHandle xTask, signed char *pcTaskName);

/* USER CODE BEGIN 2 */
__weak void vApplicationIdleHook( void )
{
   /* vApplicationIdleHook() will only be called if configUSE_IDLE_HOOK is set
   to 1 in FreeRTOSConfig.h. It will be called on each iteration of the idle
   task. It is essential that code added to this hook function never attempts
   to block in any way (for example, call xQueueReceive() with a block time
   specified, or call vTaskDelay()). If the application makes use of the
   vTaskDelete() API function (as this demo application does) then it is also
   important that vApplicationIdleHook() is permitted to return to its calling
   function, because it is the responsibility of the idle task to clean up
   memory allocated by the kernel to any task that has since been deleted. */
}
/* USER CODE END 2 */

/* USER CODE BEGIN 4 */
__weak void vApplicationStackOverflowHook(xTaskHandle xTask, signed char *pcTaskName)
{
   /* Run time stack overflow checking is performed if
   configCHECK_FOR_STACK_OVERFLOW is defined to 1 or 2. This hook function is
   called if a stack overflow is detected. */
}
/* USER CODE END 4 */

/************************ (C) COPYRIGHT STMicroelectronics *****END OF FILE****/
